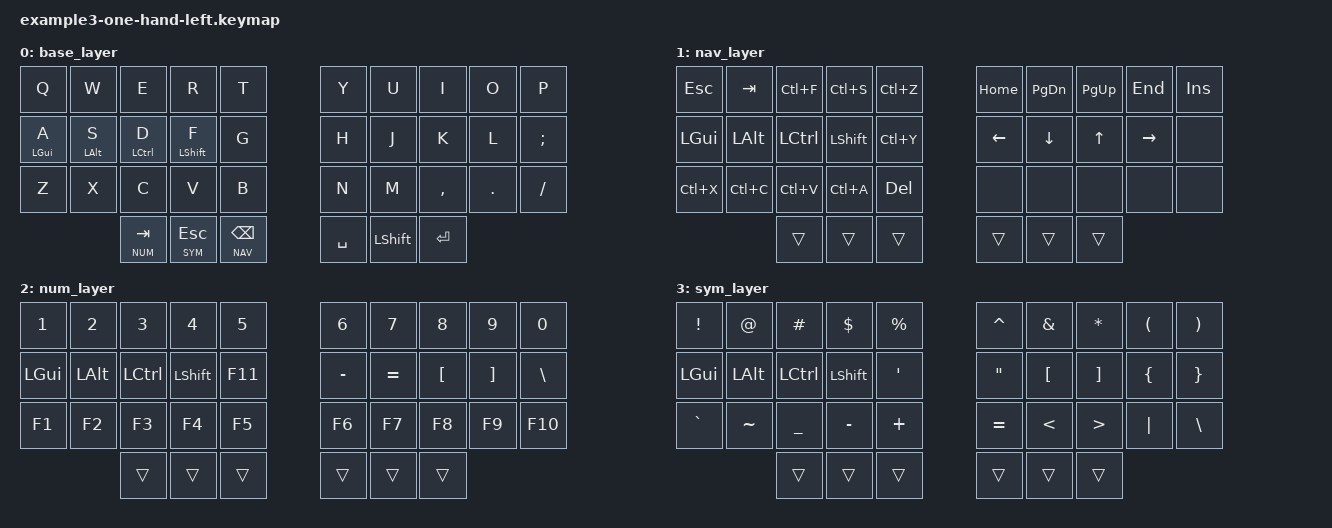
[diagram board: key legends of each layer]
// Example 3: One-Handed Left Dominance
// Philosophy: Maximize left hand capability for mouse/pen use with right
// Focus: All essential keys accessible from left hand + left thumb cluster
// Thumb Strategy: Right thumbs carry critical functions (space, enter, shift)

#include <behaviors.dtsi>
#include <dt-bindings/zmk/keys.h>

#define BASE 0
#define NAV  1
#define NUM  2
#define SYM  3

/ {
    keymap {
        compatible = "zmk,keymap";

        base_layer {
            bindings = <
    // ╭─────────────┬─────────────┬─────────────┬─────────────┬─────────────╮   ╭─────────────┬─────────────┬─────────────┬─────────────┬─────────────╮
         &kp Q         &kp W         &kp E         &kp R         &kp T             &kp Y         &kp U         &kp I         &kp O         &kp P
    // ├─────────────┼─────────────┼─────────────┼─────────────┼─────────────┤   ├─────────────┼─────────────┼─────────────┼─────────────┼─────────────┤
         &mt LGUI A    &mt LALT S    &mt LCTRL D   &mt LSHFT F   &kp G             &kp H         &kp J         &kp K         &kp L         &kp SEMI
    // ├─────────────┼─────────────┼─────────────┼─────────────┼─────────────┤   ├─────────────┼─────────────┼─────────────┼─────────────┼─────────────┤
         &kp Z         &kp X         &kp C         &kp V         &kp B             &kp N         &kp M         &kp COMMA     &kp DOT       &kp FSLH
    // ╰─────────────┴─────────────┴─────────────┼─────────────┼─────────────┤   ├─────────────┼─────────────┼─────────────┴─────────────┴─────────────╯
                                     &lt NUM TAB   &lt SYM ESC   &lt NAV BSPC      &kp SPACE     &kp LSHFT     &kp RET
    //                               ╰─────────────┴─────────────┴─────────────╯   ╰─────────────┴─────────────┴─────────────╯
            >;
        };

        nav_layer {
            bindings = <
         &kp ESC       &kp TAB       &kp LC(F)     &kp LC(S)     &kp LC(Z)         &kp HOME      &kp PG_DN     &kp PG_UP     &kp END       &kp INS
         &kp LGUI      &kp LALT      &kp LCTRL     &kp LSHFT     &kp LC(Y)         &kp LEFT      &kp DOWN      &kp UP        &kp RIGHT     &none
         &kp LC(X)     &kp LC(C)     &kp LC(V)     &kp LC(A)     &kp DEL           &none         &none         &none         &none         &none
                                     &trans        &trans        &trans            &trans        &trans        &trans
            >;
        };

        num_layer {
            bindings = <
         &kp N1        &kp N2        &kp N3        &kp N4        &kp N5            &kp N6        &kp N7        &kp N8        &kp N9        &kp N0
         &kp LGUI      &kp LALT      &kp LCTRL     &kp LSHFT     &kp F11           &kp MINUS     &kp EQUAL     &kp LBKT      &kp RBKT      &kp BSLH
         &kp F1        &kp F2        &kp F3        &kp F4        &kp F5            &kp F6        &kp F7        &kp F8        &kp F9        &kp F10
                                     &trans        &trans        &trans            &trans        &trans        &trans
            >;
        };

        sym_layer {
            bindings = <
         &kp EXCL      &kp AT        &kp HASH      &kp DLLR      &kp PRCNT         &kp CARET     &kp AMPS      &kp STAR      &kp LPAR      &kp RPAR
         &kp LGUI      &kp LALT      &kp LCTRL     &kp LSHFT     &kp SQT           &kp DQT       &kp LBKT      &kp RBKT      &kp LBRC      &kp RBRC
         &kp GRAVE     &kp TILDE     &kp UNDER     &kp MINUS     &kp PLUS          &kp EQUAL     &kp LT        &kp GT        &kp PIPE      &kp BSLH
                                     &trans        &trans        &trans            &trans        &trans        &trans
            >;
        };
    };
};
